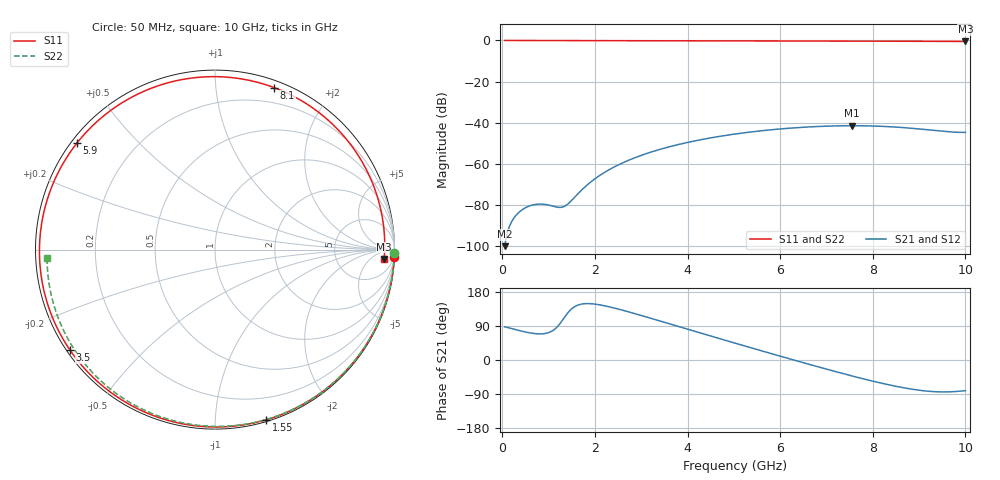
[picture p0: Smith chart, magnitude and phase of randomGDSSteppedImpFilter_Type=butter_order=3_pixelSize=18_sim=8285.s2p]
! freq	dB(S11)	phase(S11)	dB(S12)	phase(S12)
!  dB(S21)	phase(S21)	dB(S22)	phase(S22)
!S-par simulation data
#  GHz  S  DB  R 50
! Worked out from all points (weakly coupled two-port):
!   200 points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, 50 MHz to 10 GHz, reference 50 ohm
!   highest |S21| = -41.40 dB at 7.55 GHz (marker M1); lowest = -99.9 dB at 50 MHz (marker M2)
!   lowest |S11| = -0.5 dB at 10 GHz (marker M3), VSWR 34.79, Z = 893 - j869 ohm
!   |S11| at or under -10 dB: nowhere
!   |S22| runs from -0.6 to 0.0 dB; largest |S21 - S12| = 0
!   S11 on the Smith chart (normalised r, x): 50 MHz: 0, -45; 1.55 GHz: 0.01, -1.34; 3.5 GHz: 0.01, -0.31; 5.9 GHz: 0.02, +0.34; 8.1 GHz: 0.06, +1.43; 10 GHz: 18, -17
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0.05  -0.00 -2.5  -99.87 87.7  -99.87 87.7  -0.00 -1.0
0.65  -0.04 -32.1  -79.91 70.5  -79.91 70.5  -0.02 -13.5
1  -0.06 -48.7  -79.89 72.2  -79.89 72.2  -0.03 -20.7
1.35  -0.08 -64.6  -80.43 113.9  -80.43 113.9  -0.04 -27.8
1.55  -0.09 -73.3  -76.40 139.8  -76.40 139.8  -0.04 -31.8
1.75  -0.09 -81.7  -71.83 148.3  -71.83 148.3  -0.05 -35.8
2.05  -0.10 -93.9  -66.36 146.6  -66.36 146.6  -0.05 -41.8
2.45  -0.12 -109.2  -61.04 136.1  -61.04 136.1  -0.06 -49.6
2.95  -0.13 -126.9  -56.20 119.3  -56.20 119.3  -0.08 -59.2
3.4  -0.15 -142.0  -52.91 103.2  -52.91 103.2  -0.09 -67.6
3.5  -0.15 -145.2  -52.27 99.5  -52.27 99.5  -0.09 -69.5
4.25  -0.18 -168.5  -48.35 72.3  -48.35 72.3  -0.12 -83.0
5.05  -0.21 167.6  -45.36 43.6  -45.36 43.6  -0.15 -96.9
5.9  -0.25 142.2  -43.16 13.6  -43.16 13.6  -0.19 -111.1
6.7  -0.29 117.4  -41.89 -14.0  -41.89 -14.0  -0.24 -124.1
7.55  -0.32 89.3  -41.40 -42.0  -41.40 -42.0  -0.30 -137.7
8.1  -0.35 69.9  -41.61 -58.7  -41.61 -58.7  -0.35 -146.4
8.35  -0.36 60.8  -41.86 -65.6  -41.86 -65.6  -0.38 -150.4
8.8  -0.38 43.9  -42.56 -76.1  -42.56 -76.1  -0.43 -157.6
9.25  -0.41 26.5  -43.52 -82.9  -43.52 -82.9  -0.48 -164.8
9.65  -0.45 10.8  -44.35 -84.1  -44.35 -84.1  -0.52 -171.4
10  -0.50 -3.2  -44.63 -80.9  -44.63 -80.9  -0.57 -177.2
